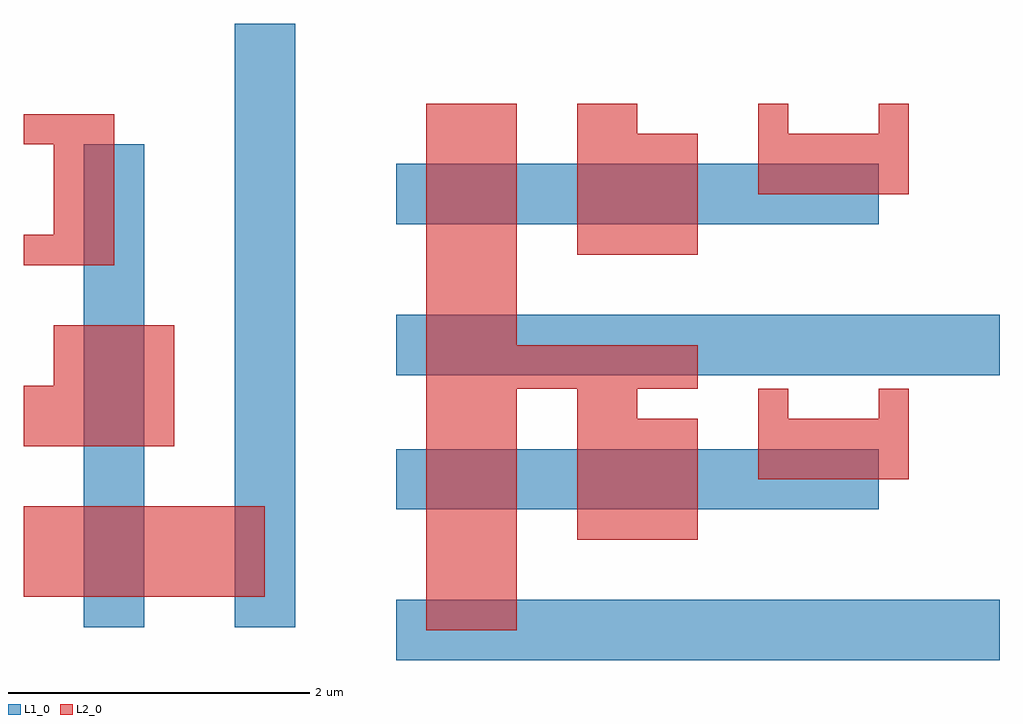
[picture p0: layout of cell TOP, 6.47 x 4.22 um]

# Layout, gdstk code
from math import pi, radians
import gdstk
lib = gdstk.Library(unit=1e-6, precision=1e-09)
def R(c, l, rs):  # rectangles x0, y0, x1, y1
    for r in rs: c.add(gdstk.rectangle(r[:2], r[2:], *l))
def P(c, l, *ps):  # polygons
    for p in ps: c.add(gdstk.Polygon(p, *l))
L1_0 = (1, 0)
L2_0 = (2, 0)
L10_0 = (10, 0)
L11_0 = (11, 0)
L100_0 = (100, 0)

c_c = lib.new_cell('C')
R(c_c, L1_0, [(0,0,4,0.4), (0,1,3.2,1.4)])
R(c_c, L2_0, [(0.2,0.2,0.8,1.8)])
P(c_c, L2_0, [(2.4,1.2),(2.4,1.8),(2.6,1.8),(2.6,1.6),(3.2,1.6),(3.2,1.8),(3.4,1.8),(3.4,1.2)],
  [(1.2,0.8),(1.2,1.8),(1.6,1.8),(1.6,1.6),(2,1.6),(2,0.8)])
c_c.add(gdstk.FlexPath([(4,0.4),(4,0)], 0, ends="flush", simple_path=True, layer=10, datatype=0))  # L10_0
c_c.add(gdstk.FlexPath([(0,1.4),(3.2,1.4)], 0, ends="flush", simple_path=True, layer=10, datatype=0))  # L10_0
c_c.add(gdstk.FlexPath([(3.2,1.4),(3.2,1)], 0, ends="flush", simple_path=True, layer=10, datatype=0))  # L10_0
c_c.add(gdstk.FlexPath([(0,1),(0,1.4)], 0, ends="flush", simple_path=True, layer=10, datatype=0))  # L10_0
c_c.add(gdstk.FlexPath([(4,0),(0,0)], 0, ends="flush", simple_path=True, layer=10, datatype=0))  # L10_0
c_c.add(gdstk.FlexPath([(3.2,1),(0,1)], 0, ends="flush", simple_path=True, layer=10, datatype=0))  # L10_0
c_c.add(gdstk.FlexPath([(0,0.4),(4,0.4)], 0, ends="flush", simple_path=True, layer=10, datatype=0))  # L10_0
c_c.add(gdstk.FlexPath([(0,0),(0,0.4)], 0, ends="flush", simple_path=True, layer=10, datatype=0))  # L10_0
c_c.add(gdstk.FlexPath([(2.4,1.2),(2.4,1.8)], 0, ends="flush", simple_path=True, layer=11, datatype=0))  # L11_0
c_c.add(gdstk.FlexPath([(2.6,1.8),(2.6,1.6)], 0, ends="flush", simple_path=True, layer=11, datatype=0))  # L11_0
c_c.add(gdstk.FlexPath([(1.6,1.6),(2,1.6)], 0, ends="flush", simple_path=True, layer=11, datatype=0))  # L11_0
c_c.add(gdstk.FlexPath([(0.8,1.8),(0.8,0.2)], 0, ends="flush", simple_path=True, layer=11, datatype=0))  # L11_0
c_c.add(gdstk.FlexPath([(3.4,1.8),(3.4,1.2)], 0, ends="flush", simple_path=True, layer=11, datatype=0))  # L11_0
c_c.add(gdstk.FlexPath([(1.6,1.8),(1.6,1.6)], 0, ends="flush", simple_path=True, layer=11, datatype=0))  # L11_0
c_c.add(gdstk.FlexPath([(2.4,1.8),(2.6,1.8)], 0, ends="flush", simple_path=True, layer=11, datatype=0))  # L11_0
c_c.add(gdstk.FlexPath([(3.2,1.6),(3.2,1.8)], 0, ends="flush", simple_path=True, layer=11, datatype=0))  # L11_0
c_c.add(gdstk.FlexPath([(3.2,1.8),(3.4,1.8)], 0, ends="flush", simple_path=True, layer=11, datatype=0))  # L11_0
c_c.add(gdstk.FlexPath([(1.2,0.8),(1.2,1.8)], 0, ends="flush", simple_path=True, layer=11, datatype=0))  # L11_0
c_c.add(gdstk.FlexPath([(3.4,1.2),(2.4,1.2)], 0, ends="flush", simple_path=True, layer=11, datatype=0))  # L11_0
c_c.add(gdstk.FlexPath([(0.2,0.2),(0.2,1.8)], 0, ends="flush", simple_path=True, layer=11, datatype=0))  # L11_0
c_c.add(gdstk.FlexPath([(2,0.8),(1.2,0.8)], 0, ends="flush", simple_path=True, layer=11, datatype=0))  # L11_0
c_c.add(gdstk.FlexPath([(2.6,1.6),(3.2,1.6)], 0, ends="flush", simple_path=True, layer=11, datatype=0))  # L11_0
c_c.add(gdstk.FlexPath([(2,1.6),(2,0.8)], 0, ends="flush", simple_path=True, layer=11, datatype=0))  # L11_0
c_c.add(gdstk.FlexPath([(0,1.4),(3.2,1.4)], 0, ends="flush", simple_path=True, layer=100, datatype=0))  # L100_0
c_c.add(gdstk.FlexPath([(3.2,1.4),(3.2,1)], 0, ends="flush", simple_path=True, layer=100, datatype=0))  # L100_0
c_c.add(gdstk.FlexPath([(3.2,1),(0,1)], 0, ends="flush", simple_path=True, layer=100, datatype=0))  # L100_0
c_c.add(gdstk.FlexPath([(0,0.4),(4,0.4)], 0, ends="flush", simple_path=True, layer=100, datatype=0))  # L100_0

top = lib.new_cell('TOP')
R(top, L2_0, [(0.27,1.98,2.07,2.27)])
top.add(gdstk.FlexPath([(0.87,2.27),(2.07,2.27)], 0, ends="flush", simple_path=True, layer=11, datatype=0))  # L11_0
top.add(gdstk.FlexPath([(0.27,1.98),(0.27,2.27)], 0, ends="flush", simple_path=True, layer=11, datatype=0))  # L11_0
top.add(gdstk.FlexPath([(1.27,1.98),(0.87,1.98)], 0, ends="flush", simple_path=True, layer=11, datatype=0))  # L11_0
top.add(gdstk.FlexPath([(2.07,1.98),(1.67,1.98)], 0, ends="flush", simple_path=True, layer=11, datatype=0))  # L11_0
top.add(gdstk.FlexPath([(0.87,0.38),(0.27,0.38)], 0, ends="flush", simple_path=True, layer=11, datatype=0))  # L11_0
top.add(gdstk.FlexPath([(0.27,3.87),(0.87,3.87)], 0, ends="flush", simple_path=True, layer=11, datatype=0))  # L11_0
top.add(gdstk.FlexPath([(2.07,2.27),(2.07,1.98)], 0, ends="flush", simple_path=True, layer=11, datatype=0))  # L11_0
top.add(gdstk.FlexPath([(1.27,3.87),(1.67,3.87)], 0, ends="flush", simple_path=True, layer=11, datatype=0))  # L11_0
top.add(gdstk.FlexPath([(-2.4,0.6),(-2.4,1.2)], 0, ends="flush", simple_path=True, layer=11, datatype=0))  # L11_0
top.add(gdstk.FlexPath([(-2.4,1.6),(-2.4,2)], 0, ends="flush", simple_path=True, layer=11, datatype=0))  # L11_0
top.add(gdstk.FlexPath([(-0.8,1.2),(-0.8,0.6)], 0, ends="flush", simple_path=True, layer=11, datatype=0))  # L11_0
top.add(gdstk.FlexPath([(4.07,2.07),(0.07,2.07)], 0, ends="flush", simple_path=True, layer=100, datatype=0))  # L100_0
top.add(gdstk.Reference(c_c, (0.07,0.18)))
top.add(gdstk.Reference(c_c, (0.07,2.07)))
top.add(gdstk.Reference(c_c, (-0.6,0.4), rotation=pi/2))

lib.write_gds('TOP.gds')
